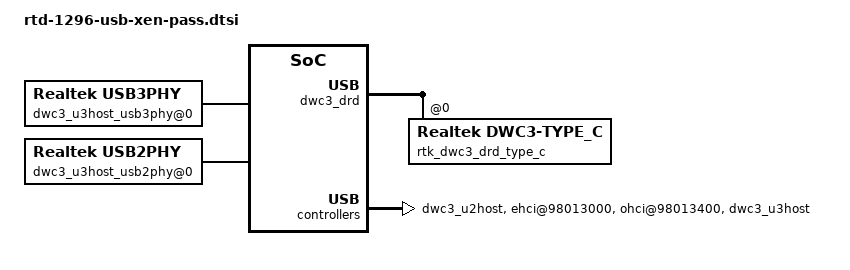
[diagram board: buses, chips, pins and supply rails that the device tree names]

/ {
	/include/ "rtd-129x-usb.dtsi"

	rtk_usb_power_manager@0 {
		compatible = "Realtek,usb-manager";
		xen,passthrough;
	};

	dwc3_drd: rtk_dwc3_drd@98013200 {
		compatible = "Realtek,dwc3";
		xen,passthrough;

		dwc3_drd@98020000 {
			xen,passthrough;
		};

		rtk_dwc3_drd_type_c@0 {
			compatible = "Realtek,dwc3-type_c";
			xen,passthrough;
		};

	};

	dwc3_u2host: rtk_dwc3_u2host@98013E00 {
		compatible = "Realtek,dwc3";
		xen,passthrough;

		dwc3_u2host@98029000 {
			xen,passthrough;
		};
	};

	ehci@98013000 {
		compatible = "Realtek,rtd129x-ehci";
		xen,passthrough;
	};

	ohci@98013400 {
		compatible = "Realtek,rtd129x-ohci";
		xen,passthrough;
	};

	dwc3_u3host_usb3phy@0 {
		compatible = "Realtek,usb3phy";
		xen,passthrough;
	};

	dwc3_u3host_usb2phy@0 {
		compatible = "Realtek,usb2phy";
		xen,passthrough;
	};

	dwc3_u3host: rtk_dwc3_u3host@98013E00 {
		compatible = "Realtek,dwc3";
		xen,passthrough;

		dwc3_u3host@981F0000 {
			xen,passthrough;
		};
	};

};

/* Nodes under rtd-129x-usb.dtsi which need passthrough */
&dwc3_drd_usb3phy {
	xen,passthrough;
};

&dwc3_drd_usb2phy {
	xen,passthrough;
};

&dwc3_u2host_usb2phy {
	xen,passthrough;
};

&ehci_phy_rle0599 {
	xen,passthrough;
};

&usb2_udc {
	xen,passthrough;
};
